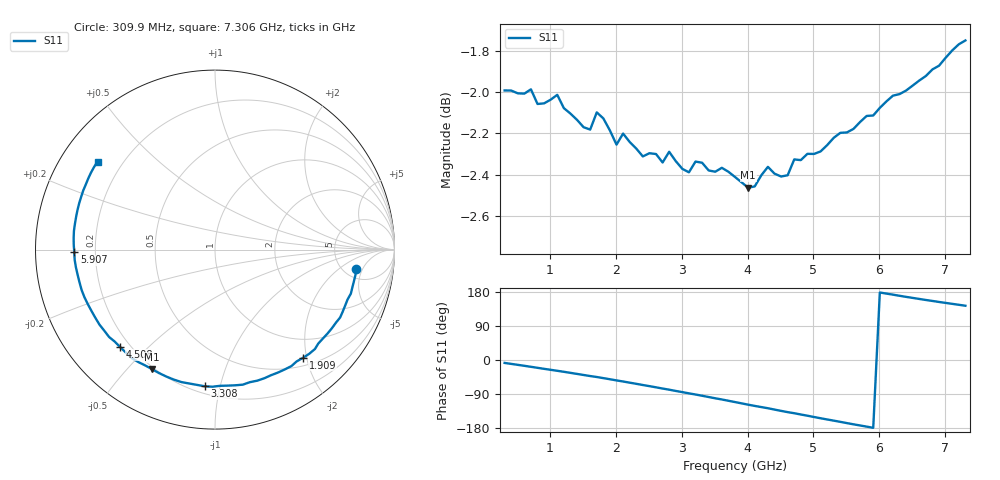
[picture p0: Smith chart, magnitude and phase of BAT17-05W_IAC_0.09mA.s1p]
! Infineon Technologies  Discrete & RF Semiconductors
! BAT17-05W
! IAC = 0.09 mA
! One-Port S-Parameters
# Hz  S  MA  R  50
!f  S11
!Hz  Mag  Ang
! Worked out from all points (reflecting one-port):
!   71 points, 309.9 MHz to 7.306 GHz, reference 50 ohm
!   lowest |S11| = -2.5 dB at 4.008 GHz (marker M1), VSWR 7.10, Z = 9.53 - j29.3 ohm
!   phase of S11 starts at -8 deg and turns -209 deg over the sweep
!   S11 on the Smith chart (normalised r, x): 309.9 MHz: 6.51, -3.80; 1.909 GHz: 0.64, -1.94; 3.308 GHz: 0.25, -0.90; 4.508 GHz: 0.16, -0.41; 5.907 GHz: 0.12, -0.01; 7.306 GHz: 0.11, +0.33
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3.0985e8  0.7951 -7.7
7.0965e8  0.7956 -18.0
1.10945e9  0.7932 -28.5
1.2094e9  0.7873 -31.1
1.6092e9  0.7779 -42.3
1.70915e9  0.7854 -44.8
1.90905e9  0.7775 -50.8
2.10895e9  0.7762 -56.7
2.6087e9  0.7673 -72.1
2.8086e9  0.7683 -78.3
3.0085e9  0.761 -84.8
3.30835e9  0.7636 -94.3
3.6082e9  0.7614 -104.2
3.8081e9  0.7575 -111.0
4.008e9  0.753 -117.9
4.30785e9  0.7619 -127.3
4.50775e9  0.7578 -134.3
4.70765e9  0.765 -140.4
4.90755e9  0.7674 -147.0
5.2074e9  0.7712 -156.9
5.4073e9  0.7765 -163.2
5.6072e9  0.7782 -169.7
5.90705e9  0.7841 -179.0
6.2069e9  0.7928 172.4
6.50675e9  0.7973 163.8
6.8066e9  0.8046 155.8
7.10645e9  0.8132 148.2
7.30635e9  0.8177 143.2
